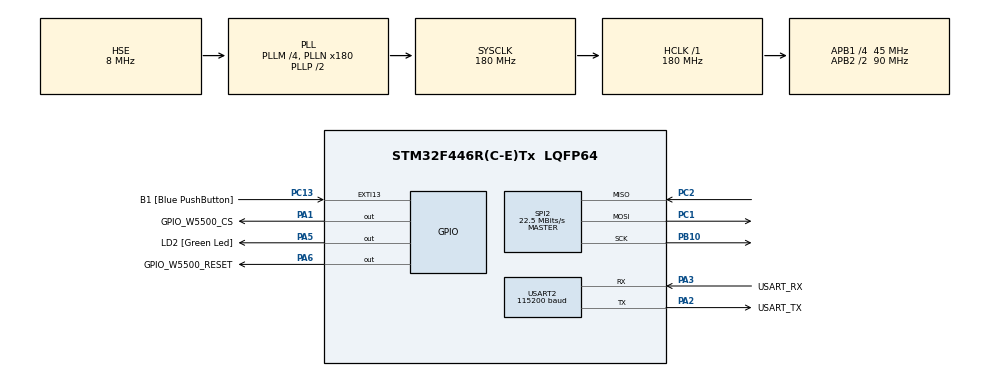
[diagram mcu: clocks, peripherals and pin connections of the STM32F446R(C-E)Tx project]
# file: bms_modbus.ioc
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Mcu.Family=STM32F4
Mcu.Name=STM32F446R(C-E)Tx
Mcu.Package=LQFP64
NVIC.PriorityGroup=NVIC_PRIORITYGROUP_0
NVIC.SPI2_IRQn=true\:0\:0\:false\:false\:true\:true\:true\:true
NVIC.USART2_IRQn=true\:0\:0\:false\:false\:true\:true\:true\:true
PA1.GPIO_Label=GPIO_W5500_CS
PA1.Signal=GPIO_Output
PA13.GPIO_Label=TMS
PA13.Mode=Serial_Wire
PA13.Signal=SYS_JTMS-SWDIO
PA14.GPIO_Label=TCK
PA14.Mode=Serial_Wire
PA14.Signal=SYS_JTCK-SWCLK
PA2.GPIO_Label=USART_TX
PA2.Mode=Asynchronous
PA2.Signal=USART2_TX
PA3.GPIO_Label=USART_RX
PA3.Mode=Asynchronous
PA3.Signal=USART2_RX
PA5.GPIO_Label=LD2 [Green Led]
PA5.Signal=GPIO_Output
PA6.GPIO_Label=GPIO_W5500_RESET
PA6.Signal=GPIO_Output
PB10.Mode=Full_Duplex_Master
PB10.Signal=SPI2_SCK
PB3.GPIO_Label=SWO
PB3.Signal=SYS_JTDO-SWO
PC1.Mode=Full_Duplex_Master
PC1.Signal=SPI2_MOSI
PC13.GPIO_Label=B1 [Blue PushButton]
PC13.GPIO_ModeDefaultEXTI=GPIO_MODE_IT_FALLING
PC13.Signal=GPXTI13
PC14-OSC32_IN.Mode=LSE-External-Oscillator
PC14-OSC32_IN.Signal=RCC_OSC32_IN
PC15-OSC32_OUT.Mode=LSE-External-Oscillator
PC15-OSC32_OUT.Signal=RCC_OSC32_OUT
PC2.Mode=Full_Duplex_Master
PC2.Signal=SPI2_MISO
PH0-OSC_IN.Mode=HSE-External-Oscillator
PH0-OSC_IN.Signal=RCC_OSC_IN
PH1-OSC_OUT.Mode=HSE-External-Oscillator
PH1-OSC_OUT.Signal=RCC_OSC_OUT
ProjectManager.HeapSize=0x200
ProjectManager.StackSize=0x400
ProjectManager.TargetToolchain=STM32CubeIDE
RCC.48MHZClocksFreq_Value=84000000
RCC.AHBFreq_Value=180000000
RCC.APB1CLKDivider=RCC_HCLK_DIV4
RCC.APB1Freq_Value=45000000
RCC.APB1TimFreq_Value=90000000
RCC.APB2CLKDivider=RCC_HCLK_DIV2
RCC.APB2Freq_Value=90000000
RCC.APB2TimFreq_Value=180000000
RCC.CortexFreq_Value=180000000
RCC.FLatency-AdvancedSettings=FLASH_LATENCY_5
RCC.HCLKFreq_Value=180000000
RCC.HSE_VALUE=8000000
RCC.HSI_VALUE=16000000
RCC.PLLM=4
RCC.PLLN=180
RCC.PLLSourceVirtual=RCC_PLLSOURCE_HSE
RCC.SYSCLKFreq_VALUE=180000000
RCC.SYSCLKSource=RCC_SYSCLKSOURCE_PLLCLK
RCC.USBFreq_Value=180000000
RCC.VCOOutputFreq_Value=360000000
SPI2.CalculateBaudRate=22.5 MBits/s
SPI2.Direction=SPI_DIRECTION_2LINES
SPI2.Mode=SPI_MODE_MASTER
SPI2.VirtualType=VM_MASTER
USART2.BaudRate=115200
USART2.VirtualMode=VM_ASYNC
board=NUCLEO-F446RE

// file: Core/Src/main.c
/* USER CODE BEGIN Header */
/**
  ******************************************************************************
  * @file           : main.c
  * @brief          : Main program body
  ******************************************************************************
  * @attention
  *
  * Copyright (c) 2024 STMicroelectronics.
  * All rights reserved.
  *
  * This software is licensed under terms that can be found in the LICENSE file
  * in the root directory of this software component.
  * If no LICENSE file comes with this software, it is provided AS-IS.
  *
  ******************************************************************************
  */
/* USER CODE END Header */
#include "main.h"

/* USER CODE BEGIN Includes */
//#include "delay.h"
#include "spi.h"
#include "modbus.h"
#include <stdio.h>
#include <stdlib.h>
#include <stdarg.h>
#include <string.h>
#include "socket.h"
#include "wizchip_conf.h"
/* USER CODE END Includes */

/* USER CODE BEGIN PTD */
typedef enum
{ Bit_RESET = 0,
  Bit_SET
}BitAction;

#define LDR_VALUE  ADC_CHANNEL_1
/* USER CODE END PTD */

/* USER CODE BEGIN PD */
/* USER CODE BEGIN PD */
#define HTTP_SOCKET 0
//#define PORT_TCPS 5000
#define DATA_BUF_SIZE 2048
uint8_t gDATABUF[DATA_BUF_SIZE];
#define SEPARATOR            "=============================================\r\n"
#define WELCOME_MSG  		 "Welcome to STM32Nucleo Ethernet configuration\r\n"
#define NETWORK_MSG  		 "Network configuration:\r\n"
#define IP_MSG 		 		 "  IP ADDRESS:  %d.%d.%d.%d\r\n"
#define NETMASK_MSG	         "  NETMASK:     %d.%d.%d.%d\r\n"
#define GW_MSG 		 		 "  GATEWAY:     %d.%d.%d.%d\r\n"
#define MAC_MSG		 		 "  MAC ADDRESS: %x:%x:%x:%x:%x:%x\r\n"
#define GREETING_MSG 		 "Well done guys! Welcome to the IoT world. Bye!\r\n"
#define CONN_ESTABLISHED_MSG "Connection established with remote IP: %d.%d.%d.%d:%d\r\n"
#define SENT_MESSAGE_MSG	 "Sent a message. Let's close the socket!\r\n"
#define WRONG_RETVAL_MSG	 "Something went wrong; return value: %d\r\n"
#define WRONG_STATUS_MSG	 "Something went wrong; STATUS: %d\r\n"
#define LISTEN_ERR_MSG		 "LISTEN Error!\r\n"

#define PRINT_STR(msg) do  {										\
  HAL_UART_Transmit(&huart2, (uint8_t*)msg, strlen(msg), 100);		\
} while(0)

#define PRINT_HEADER() do  {													\
  HAL_UART_Transmit(&huart2, (uint8_t*)SEPARATOR, strlen(SEPARATOR), 100);		\
  HAL_UART_Transmit(&huart2, (uint8_t*)WELCOME_MSG, strlen(WELCOME_MSG), 100);	\
  HAL_UART_Transmit(&huart2, (uint8_t*)SEPARATOR, strlen(SEPARATOR), 100);		\
} while(0)

#define PRINT_NETINFO(netInfo) do { 																					\
  HAL_UART_Transmit(&huart2, (uint8_t*)NETWORK_MSG, strlen(NETWORK_MSG), 100);											\
  sprintf(msg, MAC_MSG, netInfo.mac[0], netInfo.mac[1], netInfo.mac[2], netInfo.mac[3], netInfo.mac[4], netInfo.mac[5]);\
  HAL_UART_Transmit(&huart2, (uint8_t*)msg, strlen(msg), 100);															\
  sprintf(msg, IP_MSG, netInfo.ip[0], netInfo.ip[1], netInfo.ip[2], netInfo.ip[3]);										\
  HAL_UART_Transmit(&huart2, (uint8_t*)msg, strlen(msg), 100);															\
  sprintf(msg, NETMASK_MSG, netInfo.sn[0], netInfo.sn[1], netInfo.sn[2], netInfo.sn[3]);								\
  HAL_UART_Transmit(&huart2, (uint8_t*)msg, strlen(msg), 100);															\
  sprintf(msg, GW_MSG, netInfo.gw[0], netInfo.gw[1], netInfo.gw[2], netInfo.gw[3]);										\
  HAL_UART_Transmit(&huart2, (uint8_t*)msg, strlen(msg), 100);															\
} while(0)

char msg[60];

#define LISTEN_PORT 502
#define RECEIVE_BUFF_SIZE 128

/* USER CODE END PD */

SPI_HandleTypeDef hspi2;

UART_HandleTypeDef huart2;

/* USER CODE BEGIN PV */
int16_t statusClient;
uint8_t statusSlave;
uint8_t tcp_error = 0;
uint8_t rtu_error = 0;
uint8_t TX_buffer[128];
uint8_t send_size;
uint8_t RX_buffer[128];
uint8_t recv_size;
uint16_t cntSend = 0;

uint8_t flag_busy_RTU = 0;
uint8_t cntBufferRTU = 0;
uint8_t FrameNrBytes = 0;

char writeValue[60];
uint8_t cnt;
BitAction operatorOk = 0;
uint32_t address_mem = 0;

uint8_t S1 = 0;
uint8_t S2 = 0;
uint8_t S3 = 0;

#define DATA_BUF_SIZE   2048
uint8_t gDATABUF[DATA_BUF_SIZE];

wiz_NetInfo gWIZNETINFO = {
			.mac = {0x00, 0x08, 0xdc, 0xab, 0xcd, 0xef},
			.ip = {192, 168, 137, 14},
			.sn = {255, 255, 255, 0},
			.gw = {192, 168, 3, 1},
			.dns= {8,8,8,8},
			.dhcp= NETINFO_STATIC
		  };
uint8_t RX_buffer[RX_buffer_length];

uint16_t holding_register[64]= {
		1,2,3,4,5,6,7,8,9,10,11,12,13,14,15,16,
		17,18,19,20,21,22,23,24,25,26,27,28,29,30,31,32,
		33,34,35,36,37,38,39,40,41,42,43,44,45,46,47,48,
		49,50,51,52,53,54,55,56,57,58,59,60,61,62,63
};

//variables for multythread http
uint32_t sentsize[_WIZCHIP_SOCK_NUM_];
uint32_t filesize[_WIZCHIP_SOCK_NUM_];
uint8_t http_state[_WIZCHIP_SOCK_NUM_];

/* USER CODE END PV */

void SystemClock_Config(void);
static void MX_GPIO_Init(void);
static void MX_USART2_UART_Init(void);
static void MX_SPI2_Init(void);
/* USER CODE BEGIN PFP */

void  wizchip_select(void);
void  wizchip_deselect(void);
void  wizchip_write(uint8_t wb);
uint8_t wizchip_read();

void network_init(void);								// Initialize Network information and display it
//int16_t tcp_client(uint8_t sn, uint8_t* tx_buf, uint8_t* rx_buf, uint8_t buffer_send_size, uint8_t* buffer_recv_size, uint8_t* destip, uint16_t destport);
int32_t tcp_http_mt(uint8_t, uint8_t*, uint16_t);		// Multythread TCP server
void HTTP_reset(uint8_t sockn);

// initialize the dependent host peripheral
void platform_init(void);
void reverse(char s[]);
void new_itoa(int n, char s[]);
void communication();

/* USER CODE END PFP */

int main(void)
{
  /* USER CODE BEGIN 1 */
	uint8_t i;
	uint8_t memsize[2][8] = {{2,2,2,2,2,2,2,2},{2,2,2,2,2,2,2,2}};

  /* USER CODE END 1 */

  /* MCU Configuration--------------------------------------------------------*/

  /* Reset of all peripherals, Initializes the Flash interface and the Systick. */
  HAL_Init();

  /* Configure the system clock */
  SystemClock_Config();

  /* Initialize all configured peripherals */
  MX_GPIO_Init();
  MX_USART2_UART_Init();
  MX_SPI2_Init();
  /* USER CODE BEGIN 2 */

   /* Chip selection call back */

  HAL_GPIO_WritePin(GPIO_W5500_RESET_GPIO_Port,GPIO_W5500_RESET_Pin, GPIO_PIN_RESET);
  HAL_Delay(1);
  HAL_GPIO_WritePin(GPIO_W5500_RESET_GPIO_Port,GPIO_W5500_RESET_Pin, GPIO_PIN_SET);
  HAL_Delay(1000);

	 /* SPI Read & Write callback function */
	reg_wizchip_cs_cbfunc(wizchip_select, wizchip_deselect);
	reg_wizchip_spi_cbfunc(wizchip_read, wizchip_write);

	////////////////////////////////////////////////////////////////////////
	/* WIZCHIP SOCKET Buffer initialize */
	if(ctlwizchip(CW_INIT_WIZCHIP,(void*)memsize) == -1)
	{
	   //init fail

	   while(1);
	}

	/* Network initialization */
	network_init();

	//memset(holding_registers,0,sizeof(holding_registers));
	//HAL_GPIO_WritePin(LD2_GPIO_Port, LD2_Pin, GPIO_PIN_SET);

	 wizchip_setnetinfo(&gWIZNETINFO);
	  PRINT_NETINFO(gWIZNETINFO);

	  ctlnetwork(CN_SET_NETINFO, (void*) &gWIZNETINFO);

	  //Configure PHY by software for maximum compatibility
	  //so that user can use any model w5500 board
	  //else the PINs on the board configure it, which may
	  //lead to different configurations in different boards.
	  wiz_PhyConf phyconf;

	  phyconf.by=PHY_CONFBY_SW;
	  phyconf.duplex=PHY_DUPLEX_FULL;
	  phyconf.speed=PHY_SPEED_10;//10MBps Ethernet link speed
	  phyconf.mode=PHY_MODE_AUTONEGO;//best to go with auto-negotiation

	  ctlwizchip(CW_SET_PHYCONF, (void*) &phyconf);//PHY Configuration Command
	  //*** End Phy Configuration

	  PHYStatusCheck();
	  PrintPHYConf();
  /* USER CODE END 2 */

  /* Infinite loop */
  while (1)
  {
	  printf("\r\nInitializing server socket\r\n");

	  	  //Parameters in order socket_id, protocol TCP or UDP, Port number, Flags=0
	  	  //Return value is socket ID on success
	  	  if(socket(1,Sn_MR_TCP,LISTEN_PORT,0)!=1)
	  	  {
	  		  //error
	  		  printf("Cannot create Socket!\r\n");
	  		  while(1);//halt here
	  	  }

	  	  //success
	  	  printf("Socket Created Successfully ! \r\n");

	  	  uint8_t socket_io_mode=SOCK_IO_BLOCK;

	  	  ctlsocket(1, CS_SET_IOMODE , &socket_io_mode);//set blocking IO mode

	  	  printf("Start listening on port %d ! \r\n",LISTEN_PORT);
	  	  printf("Waiting for a client connection. \r\n");

	  	  //Make it a passive socket (i.e. listen for connection)
	  	  if(listen(1)!=SOCK_OK)//our socket id is 1 (w5500 have 8 sockets from 0-7)
	  	  {
	  		  //error
	  		  printf("Cannot listen on port %d",LISTEN_PORT);

	  		  while(1);

	  	  }

	  	  uint8_t sr=0x00;//socket status register

	  	  do
	  	  {
	  		  sr=getSn_SR(1);//read status reg (SR of socket 1)
	  	  }while (sr!=0x17 && sr!=0x00);

	  	  if(sr==0x00)
	  	  {
	  		  printf("Some error occurred on server socket. Please restart.\r\n");
	  		  while(1);
	  	  }

	  	  if(sr==0x17)
	  	  {
	  		  //we come here only when a client has connected.
	  		  //Now we can read data from the socket
	  		  printf("A client connected!\r\n");
	  		  printf("Waiting for Client Data ...!\r\n");

	  		  while(1)
	  		  {
	  			  int len=recv(1,RX_buffer, RX_buffer_length);

	  			  if(len==SOCKERR_SOCKSTATUS)
	  			  {
	  				  //client has disconnected
	  				  printf("Client has disconnected\r\n");
	  				  printf("*** SESSION OVER ***\r\n\r\n");
	  				  break;
	  			  }

	  			 RX_buffer[len]='\0';

	  			  printf("Received %d bytes from client\r\n",len);
	  			  printf("Data Received: %s",  RX_buffer);

	  			  //Echo the data back encloused in a [] pair
//	  			  send(1,(uint8_t*)"[",1);//starting sq bracket
//	  			  send(1,receive_buff,len);// the data
//	  			  send(1,(uint8_t*)"]",1);//closing sq bracket
//
	  			  memset(TX_buffer,0,sizeof(TX_buffer));
	  			  modbus_receive(RX_buffer, TX_buffer, len, holding_register);
	  			  holding_register[3] = holding_register[3] + 1;

//	  			send(1,test_buffer,4);//closing sq bracket

//	  			  uint8_t test_buffer[29]= {0,10,0,0,0,23,1,3,20,0,1,0,2,0,3,0,4,0,5,0,6,0,7,0,8,0,9,0,10};
//	  			  send(1,test_buffer,29);//closing sq bracket

	  			  printf("\r\nECHO sent back to client\r\n");

	  			  //Look for quit message and quit if received
	  			  if(strcmp((char*) RX_buffer,"QUIT")==0)
	  			  {
	  				  printf("Received QUIT command from client\r\n");
	  				  printf("Disconnecting ... \r\n");
	  				  printf("*** SESSION OVER ***\r\n\r\n");
	  				  disconnect(1);//disconnect from the clinet
	  				  break;//come out of while loop
	  			  }

	  		  }//While loop (as long as client is connected)

	  	  }//if block, client connect success
  }
}

void SystemClock_Config(void)
{
  RCC_OscInitTypeDef RCC_OscInitStruct = {0};
  RCC_ClkInitTypeDef RCC_ClkInitStruct = {0};

  /** Configure the main internal regulator output voltage
  */
  __HAL_RCC_PWR_CLK_ENABLE();
  __HAL_PWR_VOLTAGESCALING_CONFIG(PWR_REGULATOR_VOLTAGE_SCALE1);

  /** Initializes the RCC Oscillators according to the specified parameters
  * in the RCC_OscInitTypeDef structure.
  */
  RCC_OscInitStruct.OscillatorType = RCC_OSCILLATORTYPE_HSE;
  RCC_OscInitStruct.HSEState = RCC_HSE_ON;
  RCC_OscInitStruct.PLL.PLLState = RCC_PLL_ON;
  RCC_OscInitStruct.PLL.PLLSource = RCC_PLLSOURCE_HSE;
  RCC_OscInitStruct.PLL.PLLM = 4;
  RCC_OscInitStruct.PLL.PLLN = 180;
  RCC_OscInitStruct.PLL.PLLP = RCC_PLLP_DIV2;
  RCC_OscInitStruct.PLL.PLLQ = 2;
  RCC_OscInitStruct.PLL.PLLR = 2;
  if (HAL_RCC_OscConfig(&RCC_OscInitStruct) != HAL_OK)
  {
    Error_Handler();
  }

  /** Activate the Over-Drive mode
  */
  if (HAL_PWREx_EnableOverDrive() != HAL_OK)
  {
    Error_Handler();
  }

  /** Initializes the CPU, AHB and APB buses clocks
  */
  RCC_ClkInitStruct.ClockType = RCC_CLOCKTYPE_HCLK|RCC_CLOCKTYPE_SYSCLK
                              |RCC_CLOCKTYPE_PCLK1|RCC_CLOCKTYPE_PCLK2;
  RCC_ClkInitStruct.SYSCLKSource = RCC_SYSCLKSOURCE_PLLCLK;
  RCC_ClkInitStruct.AHBCLKDivider = RCC_SYSCLK_DIV1;
  RCC_ClkInitStruct.APB1CLKDivider = RCC_HCLK_DIV4;
  RCC_ClkInitStruct.APB2CLKDivider = RCC_HCLK_DIV2;

  if (HAL_RCC_ClockConfig(&RCC_ClkInitStruct, FLASH_LATENCY_5) != HAL_OK)
  {
    Error_Handler();
  }
}

static void MX_SPI2_Init(void)
{

  /* SPI2 parameter configuration*/
  hspi2.Instance = SPI2;
  hspi2.Init.Mode = SPI_MODE_MASTER;
  hspi2.Init.Direction = SPI_DIRECTION_2LINES;
  hspi2.Init.DataSize = SPI_DATASIZE_8BIT;
  hspi2.Init.CLKPolarity = SPI_POLARITY_LOW;
  hspi2.Init.CLKPhase = SPI_PHASE_1EDGE;
  hspi2.Init.NSS = SPI_NSS_SOFT;
  hspi2.Init.BaudRatePrescaler = SPI_BAUDRATEPRESCALER_2;
  hspi2.Init.FirstBit = SPI_FIRSTBIT_MSB;
  hspi2.Init.TIMode = SPI_TIMODE_DISABLE;
  hspi2.Init.CRCCalculation = SPI_CRCCALCULATION_DISABLE;
  hspi2.Init.CRCPolynomial = 10;
  if (HAL_SPI_Init(&hspi2) != HAL_OK)
  {
    Error_Handler();
  }

}

static void MX_USART2_UART_Init(void)
{

  huart2.Instance = USART2;
  huart2.Init.BaudRate = 115200;
  huart2.Init.WordLength = UART_WORDLENGTH_8B;
  huart2.Init.StopBits = UART_STOPBITS_1;
  huart2.Init.Parity = UART_PARITY_NONE;
  huart2.Init.Mode = UART_MODE_TX_RX;
  huart2.Init.HwFlowCtl = UART_HWCONTROL_NONE;
  huart2.Init.OverSampling = UART_OVERSAMPLING_16;
  if (HAL_UART_Init(&huart2) != HAL_OK)
  {
    Error_Handler();
  }

}

static void MX_GPIO_Init(void)
{
  GPIO_InitTypeDef GPIO_InitStruct = {0};

  /* GPIO Ports Clock Enable */
  __HAL_RCC_GPIOC_CLK_ENABLE();
  __HAL_RCC_GPIOH_CLK_ENABLE();
  __HAL_RCC_GPIOA_CLK_ENABLE();
  __HAL_RCC_GPIOB_CLK_ENABLE();

  /*Configure GPIO pin Output Level */
  HAL_GPIO_WritePin(GPIOA, GPIO_W5500_CS_Pin|LD2_Pin|GPIO_W5500_RESET_Pin, GPIO_PIN_RESET);

  /*Configure GPIO pin : B1_Pin */
  GPIO_InitStruct.Pin = B1_Pin;
  GPIO_InitStruct.Mode = GPIO_MODE_IT_FALLING;
  GPIO_InitStruct.Pull = GPIO_NOPULL;
  HAL_GPIO_Init(B1_GPIO_Port, &GPIO_InitStruct);

  /*Configure GPIO pins : GPIO_W5500_CS_Pin LD2_Pin GPIO_W5500_RESET_Pin */
  GPIO_InitStruct.Pin = GPIO_W5500_CS_Pin|LD2_Pin|GPIO_W5500_RESET_Pin;
  GPIO_InitStruct.Mode = GPIO_MODE_OUTPUT_PP;
  GPIO_InitStruct.Pull = GPIO_NOPULL;
  GPIO_InitStruct.Speed = GPIO_SPEED_FREQ_LOW;
  HAL_GPIO_Init(GPIOA, &GPIO_InitStruct);

}

/* USER CODE BEGIN 4 */

void HAL_SYSTICK_Callback()
{
	DelayIncCnt();
}

uint8_t W5500_rxtx(uint8_t data)
{
	uint8_t rxdata;

	HAL_SPI_TransmitReceive(&hspi2, &data, &rxdata, 1, 50);

	return (rxdata);
}

void  wizchip_select(void)
{
	W5500_select();
}

void  wizchip_deselect(void)
{
	W5500_release();
}

void  wizchip_write(uint8_t wb)
{
	W5500_tx(wb);
}

uint8_t wizchip_read()
{
   return W5500_rx();
}

//////////////////////////////////////////////////////////////////////////

/////////////////////////////////////////////////////////////
// Intialize the network information to be used in WIZCHIP //
/////////////////////////////////////////////////////////////
void network_init(void)
{
   uint8_t tmpstr[6];

	ctlnetwork(CN_SET_NETINFO, (void*)&gWIZNETINFO);

	ctlwizchip(CW_GET_ID,(void*)tmpstr);
}

void UWriteData(const char data)
{
	while(__HAL_UART_GET_FLAG(&huart2,UART_FLAG_TXE)==RESET);

	huart2.Instance->DR=data;

}

int __io_putchar(int ch)
{
	UWriteData(ch);
	return ch;
}

void PHYStatusCheck(void)
{
	uint8_t tmp;

	do
	{
		printf("\r\nChecking Ethernet Cable Presence ...");
		ctlwizchip(CW_GET_PHYLINK, (void*) &tmp);

		if(tmp == PHY_LINK_OFF)
		{
			printf("NO Cable Connected!");
			HAL_Delay(1500);
		}
	}while(tmp == PHY_LINK_OFF);

	printf("Good! Cable got connected!");

}

void PrintPHYConf(void)
{
	wiz_PhyConf phyconf;

	ctlwizchip(CW_GET_PHYCONF, (void*) &phyconf);

	if(phyconf.by==PHY_CONFBY_HW)
	{
		printf("\r\nPHY Configured by Hardware Pins");
	}
	else
	{
		printf("\r\nPHY Configured by Registers");
	}

	if(phyconf.mode==PHY_MODE_AUTONEGO)
	{
		printf("\r\nAutonegotiation Enabled");
	}
	else
	{
		printf("\r\nAutonegotiation NOT Enabled");
	}

	if(phyconf.duplex==PHY_DUPLEX_FULL)
	{
		printf("\r\nDuplex Mode: Full");
	}
	else
	{
		printf("\r\nDuplex Mode: Half");
	}

	if(phyconf.speed==PHY_SPEED_10)
	{
		printf("\r\nSpeed: 10Mbps");
	}
	else
	{
		printf("\r\nSpeed: 100Mbps");
	}
}
void communication(){

}
// Error codes and messages:
// sn   -  Success: The socket number 'sn' passed as a parameter
// 1    -  SOCK_OK
// -1   -  SOCKERR_SOCKNUM  - Invalid socket number
// -5   -  SOCKERR_SOCKMODE - Invalid operation in the socket
// -13  -  SOCKERR_TIMEOUT  - Timeout occurred
// -7   -  SOCKERR_SOCKSTATUS - Invalid socket status for socket operation
// -14  -  SOCKERR_DATALEN    - Zero data length
// -12  -  SOCKERR_IPINVALID   - Wrong server IP address
// -11  -  SOCKERR_PORTZERO    - Server port zero
// -4   -  SOCKERR_SOCKCLOSED  - Socket unexpectedly closed
// -6   -  SOCKERR_SOCKFLAG    - Invalid socket flag
// -1000 -  SOCK_FATAL  - Result is a fatal error about socket process.
// 0    -  SOCK_BUSY         - Socket is busy
// 200  -  SUCCESS_RECEIVE

int16_t tcp_client(uint8_t sn, uint8_t* tx_buf, uint8_t* rx_buf, uint8_t buffer_send_size, uint8_t* buffer_recv_size, uint8_t* destip, uint16_t destport)
{
   int32_t ret; // return value for SOCK_ERRORs
   uint16_t size = 0;
   // Destination (TCP Server) IP info (will be connected)
   // >> loopback_tcpc() function parameter
   // >> Ex)
   //	uint8_t destip[4] = 	{192, 168, 0, 214};
   //	uint16_t destport = 	5000;

   // Port number for TCP client (will be increased)
   uint16_t any_port = 	502;
   static uint8_t flagSent = 0;

   // Socket Status Transitions
   // Check the W5500 Socket n status register (Sn_SR, The 'Sn_SR' controlled by Sn_CR command or Packet send/recv status)
   switch(getSn_SR(sn))
   {
      case SOCK_ESTABLISHED:
         if(getSn_IR(sn) & Sn_IR_CON)	// Socket n interrupt register mask; TCP CON interrupt = connection with peer is successful
         {
#ifdef _LOOPBACK_DEBUG_
			printf("%d:Connected to - %d.%d.%d.%d : %d\r\n",sn, destip[0], destip[1], destip[2], destip[3], destport);
#endif
			setSn_IR(sn, Sn_IR_CON);  // this interrupt should be write the bit cleared to '1'
         }

         //////////////////////////////////////////////////////////////////////////////////////////////
         // Data Transaction Parts; Handle the [data receive and send] process
         //////////////////////////////////////////////////////////////////////////////////////////////
         if(flagSent == 0)
         {
        	 flagSent = 1;
    		 ret = send(sn, tx_buf, buffer_send_size); // Data send process (User's buffer -> Destination through H/W Tx socket buffer)
    		 if(ret < 0) // Send Error occurred (sent data length < 0)
    		 {
    			 close(sn); // socket close
    			 flagSent = 0;
    			 return ret;
    		 }
         }
         else if((size = getSn_RX_RSR(sn)) > 0) // Sn_RX_RSR: Socket n Received Size Register, Receiving data length
         {

			ret = recv(sn, rx_buf, size); // Data Receive process (H/W Rx socket buffer -> User's buffer)

			if(ret <= 0) return ret; // If the received data length <= 0, receive failed and process end
			*buffer_recv_size = size;
			flagSent = 0;
			return 200; //Success receive
         }

		 //////////////////////////////////////////////////////////////////////////////////////////////
         break;

      case SOCK_CLOSE_WAIT :
#ifdef _LOOPBACK_DEBUG_
         //printf("%d:CloseWait\r\n",sn);
#endif
         if((ret=disconnect(sn)) != SOCK_OK) return ret;
#ifdef _LOOPBACK_DEBUG_
         printf("%d:Socket Closed\r\n", sn);
#endif
         break;

      case SOCK_INIT :
#ifdef _LOOPBACK_DEBUG_
    	 printf("%d:Try to connect to the %d.%d.%d.%d : %d\r\n", sn, destip[0], destip[1], destip[2], destip[3], destport);
#endif
    	 if( (ret = connect(sn, destip, destport)) != SOCK_OK) return ret;	//	Try to TCP connect to the TCP server (destination)
         break;

      case SOCK_CLOSED:
    	  close(sn);
    	  if((ret=socket(sn, Sn_MR_TCP, any_port++, 0x00)) != sn) return ret; // TCP socket open with 'any_port' port number
#ifdef _LOOPBACK_DEBUG_
    	 //printf("%d:TCP client loopback start\r\n",sn);
         //printf("%d:Socket opened\r\n",sn);
#endif
         break;
      default:
         break;
   }
   return 1;
}

#if (ENABLE_MB_RTU == 1)&&(ENABLE_MB_TCP == 0)
 //Armazena a informação recebida via ModbusRTU em um buffer
void RTU_RX_Int(UART_HandleTypeDef* huart)
{
	uint8_t c;

	if(huart->Instance == USART2)
	{
		HAL_UART_Receive(huart, &c, 1,100);
		if(cntBufferRTU < 128)
		{
			RX_buffer[cntBufferRTU] = c;
			cntBufferRTU++;
		}
		flag_busy_RTU = 1;
		DELAY_SetTime_2(0);
	}

}
#endif

/* USER CODE END 4 */

void Error_Handler(void)
{
  __disable_irq();
  while (1)
  {
  }
}
